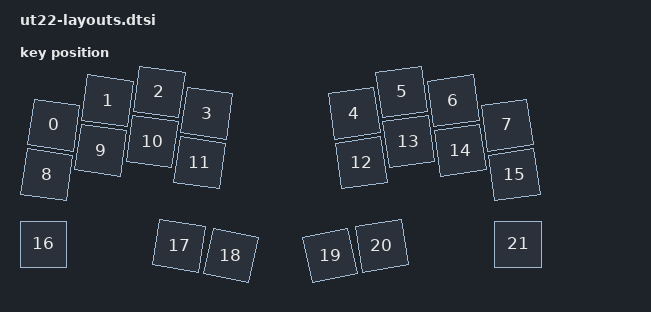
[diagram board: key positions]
#include <physical_layouts.dtsi>

/ {
    physical_layout0: physical_layout_0 {
        compatible = "zmk,physical-layout";
        display-name = "Default";

        kscan = <&kscan0>;
        transform = <&matrix_transform0>;

        keys  //                     w   h    x    y     rot    rx    ry
            = <&key_physical_attrs 100 100    0   95     800   380   455>
            , <&key_physical_attrs 100 100  100   32     800   380   455>
            , <&key_physical_attrs 100 100  200    0     800   380   455>
            , <&key_physical_attrs 100 100  300   29     800   380   455>
            , <&key_physical_attrs 100 100  700   29  (-800)   720   455>
            , <&key_physical_attrs 100 100  800    0  (-800)   720   455>
            , <&key_physical_attrs 100 100  900   32  (-800)   720   455>
            , <&key_physical_attrs 100 100 1000   95  (-800)   720   455>
            , <&key_physical_attrs 100 100    0  195     800   380   455>
            , <&key_physical_attrs 100 100  100  132     800   380   455>
            , <&key_physical_attrs 100 100  200  100     800   380   455>
            , <&key_physical_attrs 100 100  300  129     800   380   455>
            , <&key_physical_attrs 100 100  700  129  (-800)   720   455>
            , <&key_physical_attrs 100 100  800  100  (-800)   720   455>
            , <&key_physical_attrs 100 100  900  132  (-800)   720   455>
            , <&key_physical_attrs 100 100 1000  195  (-800)   720   455>
            , <&key_physical_attrs 100 100   25  290       0     0     0>
            , <&key_physical_attrs 100 100  280  300     900   380   455>
            , <&key_physical_attrs 100 100  380  300    1200   380   455>
            , <&key_physical_attrs 100 100  620  300 (-1200)   720   455>
            , <&key_physical_attrs 100 100  720  300  (-900)   720   455>
            , <&key_physical_attrs 100 100  975  290       0     0     0>
            ;
    };
};
